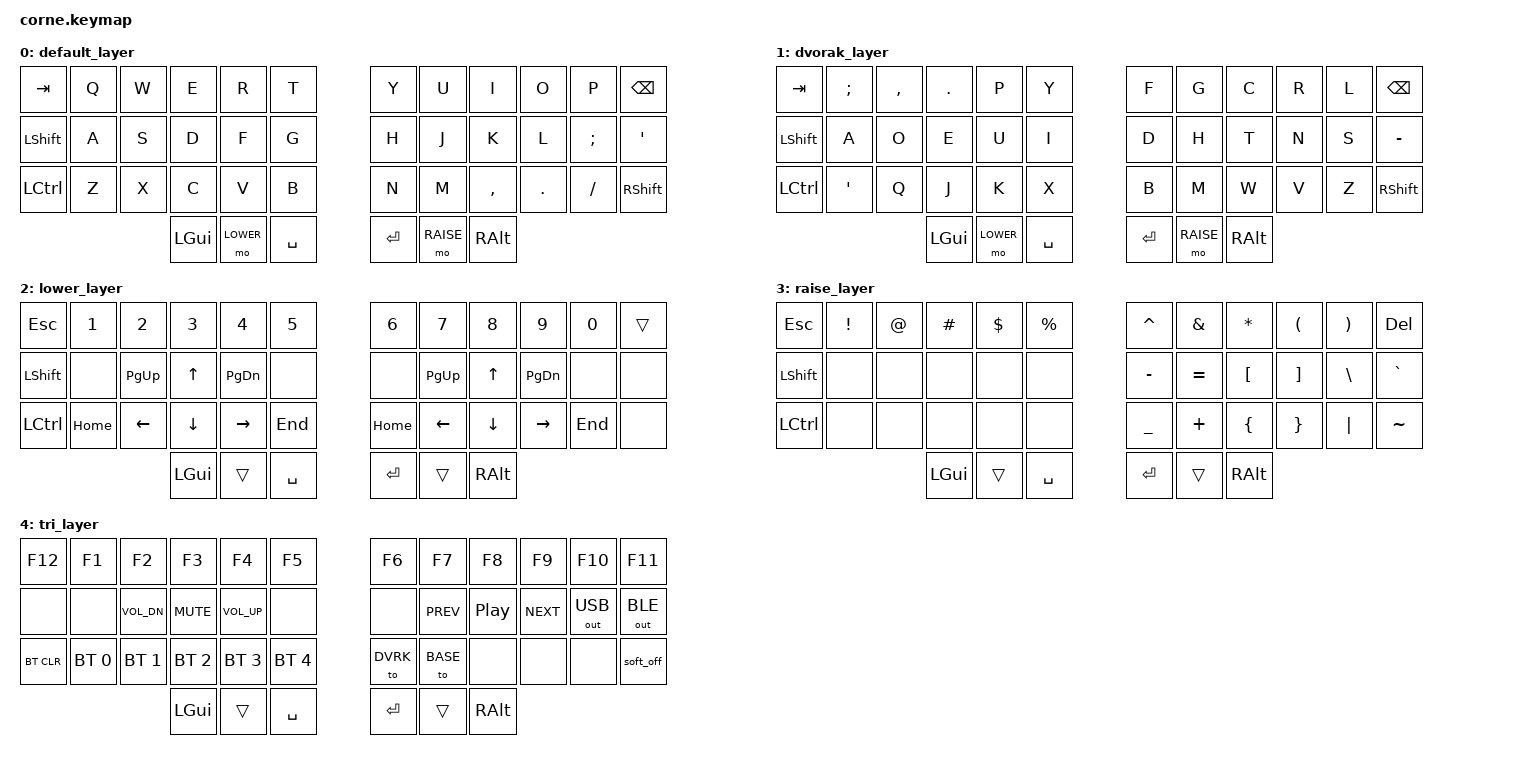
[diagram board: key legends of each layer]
/*
 * Copyright (c) 2020 The ZMK Contributors
 *
 * SPDX-License-Identifier: MIT
 */

#include <behaviors.dtsi>
#include <dt-bindings/zmk/keys.h>
#include <dt-bindings/zmk/bt.h>
#include <dt-bindings/zmk/ext_power.h>
#include <dt-bindings/zmk/outputs.h>

#define BASE  0
#define DVRK  1
#define LOWER 2
#define RAISE 3
#define BOTH  4

/ {
    conditional_layers {
        compatible = "zmk,conditional-layers";
        tri_layer {
            if-layers = <LOWER RAISE>;
            then-layer = <BOTH>;
        };
    };
    keymap {
        compatible = "zmk,keymap";
        default_layer {
// -----------------------------------------------------------------------------------------
// |  TAB |  Q  |  W  |  E  |  R  |  T  |   |  Y  |  U   |  I  |  O  |  P  | BKSP |
// | SHFT |  A  |  S  |  D  |  F  |  G  |   |  H  |  J   |  K  |  L  |  ;  |  '   |
// | CTRL |  Z  |  X  |  C  |  V  |  B  |   |  N  |  M   |  ,  |  .  |  /  | SHFT |
//                    | GUI | LWR | SPC |   | ENT | RSE  | ALT |
            bindings = <
   &kp TAB   &kp Q &kp W &kp E &kp R &kp T   &kp Y   &kp U   &kp I     &kp O   &kp P    &kp BSPC
   &kp LSHFT &kp A &kp S &kp D &kp F &kp G   &kp H   &kp J   &kp K     &kp L   &kp SEMI &kp SQT
   &kp LCTRL &kp Z &kp X &kp C &kp V &kp B   &kp N   &kp M   &kp COMMA &kp DOT &kp FSLH &kp RSHFT
              &kp LGUI &mo LOWER &kp SPACE   &kp RET &mo RAISE &kp RALT
                        >;
        };

        dvorak_layer {
// +------------------------------------------------------------------------------------+
// |  TAB  | ; : | , < | . > |  P  |  Y  |         |  F  |  G  |  C  |  R  |  L  | BSPC |
// | LSHFT |  A  |  O  |  E  |  U  |  I  |         |  D  |  H  |  T  |  N  |  S  | DEL  |
// |  CTLR | ' " | q @ |  J  |  K  |  X  |         |  B  |  M  |  W  |  V  |  Z  | ESC  |
//                       | GUI | LOWER | SPC |  | ENT | RAISE | ALT |
// +------------------------------------------------------------------------------------+
            bindings = <
   &kp TAB   &kp SEMI   &kp COMMA &kp DOT &kp P &kp Y   &kp F &kp G  &kp C   &kp R   &kp L &kp BSPC
   &kp LSHFT &kp A      &kp O     &kp E   &kp U &kp I   &kp D &kp H  &kp T   &kp N   &kp S &kp MINUS
   &kp LCTRL &kp SQT    &kp Q     &kp J   &kp K &kp X   &kp B &kp M  &kp W   &kp V   &kp Z &kp RSHFT
                        &kp LGUI &mo LOWER  &kp SPACE   &kp RET &mo RAISE &kp RALT
                        >;
        };

        lower_layer {
// -----------------------------------------------------------------------------------------
// |  ESC|  1  |  2  |  3  |  4  |  5  |   |  6  |  7  |  8  |  9  |  0  | BKSP|
// | SHFT|     | PGU |  UP | PGD |     |   |     | PGU |  UP | PGD |     |     |
// | CTRL| HOME| LFT | DWN | RGT | END |   | HOME| LFT | DWN | RGT | END |     |
//                   | GUI |     | SPC |   | ENT | ADJ | ALT |
            bindings = <
   &kp ESC    &kp N1   &kp N2    &kp N3   &kp N4    &kp N5        &kp N6    &kp N7    &kp N8   &kp N9    &kp N0  &trans
   &kp LSHFT  &none    &kp PG_UP &kp UP   &kp PG_DN &none         &none     &kp PG_UP &kp UP   &kp PG_DN &none   &none
   &kp LCTRL  &kp HOME &kp LEFT  &kp DOWN &kp RIGHT &kp END       &kp HOME  &kp LEFT  &kp DOWN &kp RIGHT &kp END &none
                                 &kp LGUI &trans    &kp SPACE     &kp RET   &trans    &kp RALT
            >;
        };

        raise_layer {
// -----------------------------------------------------------------------------------------
// |  ESC |  !  |  @  |  #  |  $  |  %  |   |  ^  |  &  |  *  |  (  |  )  | DEL  |
// | SHFT |     |     |     |     |     |   |  -  |  =  |  [  |  ]  |  \  |  `   |
// | CTRL |     |     |     |     |     |   |  _  |  +  |  {  |  }  | "|" |  ~   |
//                    | GUI |     | SPC |   | ENT |     | ALT |
            bindings = <
   &kp ESC   &kp EXCL &kp AT &kp HASH &kp DLLR &kp PRCNT    &kp CARET &kp AMPS  &kp ASTRK &kp LPAR &kp RPAR &kp DEL
   &kp LSHFT &none    &none  &none    &none    &none        &kp MINUS &kp EQUAL &kp LBKT  &kp RBKT &kp BSLH &kp GRAVE
   &kp LCTRL &none    &none  &none    &none    &none        &kp UNDER &kp PLUS  &kp LBRC  &kp RBRC &kp PIPE &kp TILDE
                    	     &kp LGUI &trans   &kp SPACE    &kp RET   &trans    &kp RALT
            >;
        };        

        tri_layer {
// -----------------------------------------------------------------------------------------
// | F12 | F1  | F2  | F3  | F4  | F5  |   | F6  | F7  | F8  | F9  | F10 | F11 |
// |     |     |VOLDN| MUTE|VOLUP|SFTOF|   |SFTOF| PREV| PLAY| NEXT|     |     |
// |BTCLR| BT0 | BT1 | BT2 | BT3 | BT4 |   | DEF | DVK |     |     |     | SOFF|
//                    | GUI |    | SPC |   | ENT |     | ALT |
            bindings = <
   &kp F12    &kp F1       &kp F2       &kp F3       &kp F4       &kp F5         &kp F6  &kp F7     &kp F8   &kp F9     &kp F10      &kp F11
   &none      &none        &kp C_VOL_DN &kp C_MUTE   &kp C_VOL_UP &none          &none   &kp C_PREV &kp C_PP &kp C_NEXT &out OUT_USB &out OUT_BLE
   &bt BT_CLR &bt BT_SEL 0 &bt BT_SEL 1 &bt BT_SEL 2 &bt BT_SEL 3 &bt BT_SEL 4   &to DVRK &to BASE  &none    &none      &none        &soft_off
                    	                &kp LGUI     &trans       &kp SPACE      &kp RET &trans     &kp RALT
            >;
        };
    };
};
